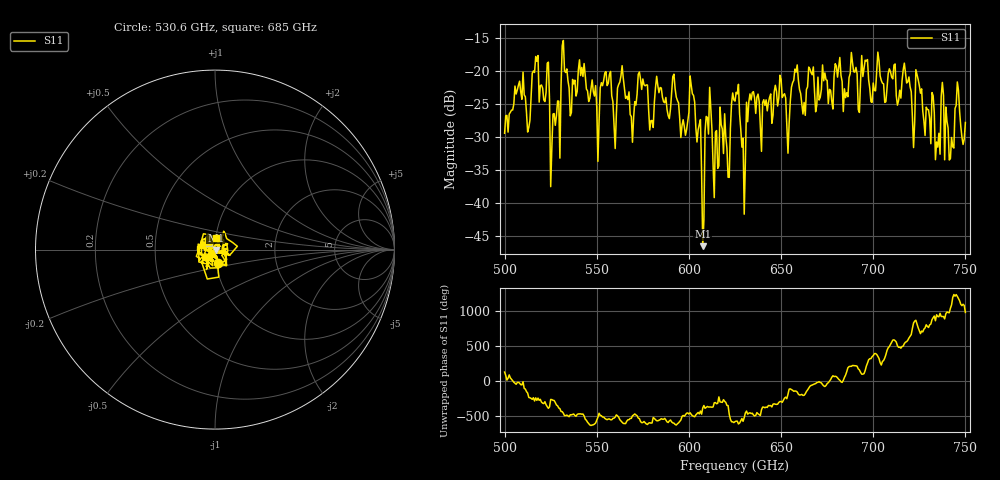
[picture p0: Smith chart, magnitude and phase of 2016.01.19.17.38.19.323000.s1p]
!Created with skrf (http://scikit-rf.org).
# GHz S RI R 50.0
!freq ReS11 ImS11
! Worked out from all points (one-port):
!   401 points, 500 GHz to 750 GHz, reference 50 ohm
!   lowest |S11| = -46.6 dB at 607.5 GHz (marker M1), VSWR 1.01, Z = 50.4 - j0.233 ohm
!   |S11| at or under -10 dB: start of sweep to end of sweep
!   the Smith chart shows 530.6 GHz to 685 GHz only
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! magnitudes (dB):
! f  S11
! 500 GHz  -29.5
! 508.8 GHz  -23.2
! 513.1 GHz  -28.6
! 516.9 GHz  -17.9
! 526.2 GHz  -26.6
! 531.2 GHz  -16.2
! 550 GHz  -25.5
! 556.2 GHz  -21.9
! 559.4 GHz  -28.2
! 562.5 GHz  -21.7
! 569.4 GHz  -30.9
! 573.8 GHz  -21.3
! 579.4 GHz  -27.6
! 593.8 GHz  -24.5
! 601.9 GHz  -23.5
! 607.5 GHz  -46.6
! 610.6 GHz  -29.6
! 621.2 GHz  -36.2
! 625 GHz  -24.6
! 629.4 GHz  -30.2
! 633.8 GHz  -24.4
! 653.8 GHz  -32.5
! 656.2 GHz  -21.8
! 687.5 GHz  -20.4
! 718.8 GHz  -21.7
! 735 GHz  -31.6
! 738.1 GHz  -23.7
! 750 GHz  -27.9
